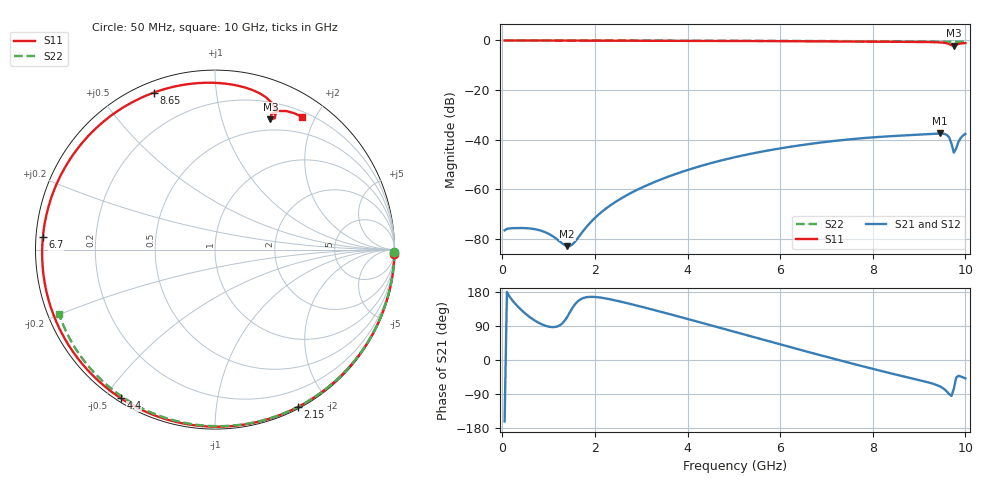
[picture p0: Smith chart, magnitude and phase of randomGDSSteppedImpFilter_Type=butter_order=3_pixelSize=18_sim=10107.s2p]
! freq	dB(S11)	phase(S11)	dB(S12)	phase(S12)
!  dB(S21)	phase(S21)	dB(S22)	phase(S22)
!S-par simulation data
#  GHz  S  DB  R 50
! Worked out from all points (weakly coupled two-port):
!   200 points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, 50 MHz to 10 GHz, reference 50 ohm
!   highest |S21| = -37.47 dB at 9.45 GHz (marker M1); lowest = -82.8 dB at 1.4 GHz (marker M2)
!   lowest |S11| = -2.0 dB at 9.75 GHz (marker M3), VSWR 8.52, Z = 18.7 + j72.2 ohm
!   |S11| at or under -10 dB: nowhere
!   |S22| runs from -0.5 to 0.0 dB; largest |S21 - S12| = 0
!   S11 on the Smith chart (normalised r, x): 50 MHz: 0, -77; 2.15 GHz: 0.02, -1.66; 4.4 GHz: 0.01, -0.55; 6.7 GHz: 0.02, +0.04; 8.65 GHz: 0.05, +0.68; 10 GHz: 0.27, +1.81
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0.05  -0.00 -1.5  -76.47 -162.1  -76.47 -162.1  -0.00 -0.9
0.65  -0.02 -19.3  -75.84 108.2  -75.84 108.2  -0.01 -11.9
1.2  -0.04 -35.3  -80.32 89.0  -80.32 89.0  -0.03 -21.8
1.4  -0.05 -41.1  -82.85 113.4  -82.85 113.4  -0.03 -25.3
1.6  -0.06 -46.8  -80.35 151.3  -80.35 151.3  -0.04 -28.9
1.75  -0.06 -51.0  -76.64 163.5  -76.64 163.5  -0.04 -31.5
2.15  -0.08 -62.2  -68.99 164.2  -68.99 164.2  -0.05 -38.5
2.7  -0.10 -77.4  -62.20 149.8  -62.20 149.8  -0.06 -48.0
3.4  -0.13 -96.1  -56.16 128.0  -56.16 128.0  -0.08 -59.7
4.4  -0.17 -122.3  -49.94 95.0  -49.94 95.0  -0.11 -75.9
5.05  -0.21 -139.3  -46.89 72.9  -46.89 72.9  -0.13 -86.1
5.9  -0.27 -161.9  -43.78 44.4  -43.78 44.4  -0.17 -98.9
6.7  -0.34 175.8  -41.53 18.1  -41.53 18.1  -0.22 -110.6
7.55  -0.42 149.9  -39.73 -9.2  -39.73 -9.2  -0.28 -122.8
8.35  -0.51 122.6  -38.59 -34.0  -38.59 -34.0  -0.34 -134.1
8.65  -0.55 111.4  -38.28 -42.8  -38.28 -42.8  -0.37 -138.3
9.1  -0.62 93.2  -37.81 -55.9  -37.81 -55.9  -0.42 -144.7
9.45  -0.78 77.0  -37.47 -69.8  -37.47 -69.8  -0.46 -149.7
9.65  -1.47 66.2  -39.09 -90.2  -39.09 -90.2  -0.49 -152.5
9.75  -2.05 67.0  -45.16 -76.5  -45.16 -76.5  -0.50 -153.9
9.9  -1.23 62.8  -39.24 -43.5  -39.24 -43.5  -0.52 -156.1
10  -1.07 56.9  -37.60 -48.6  -37.60 -48.6  -0.53 -157.5
